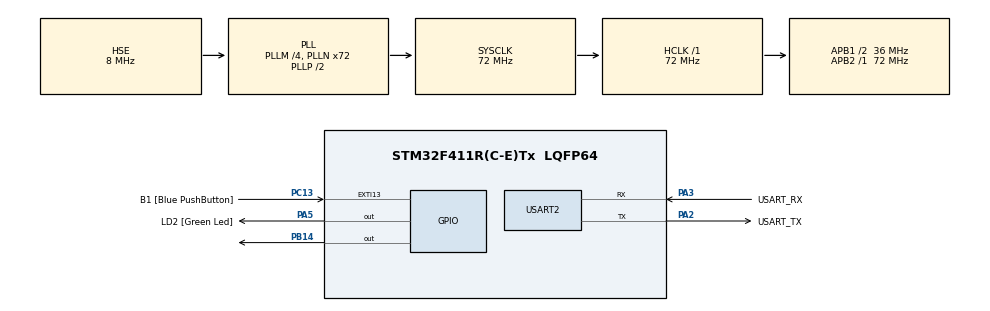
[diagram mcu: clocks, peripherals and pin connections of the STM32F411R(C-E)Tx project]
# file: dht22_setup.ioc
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Mcu.Family=STM32F4
Mcu.Name=STM32F411R(C-E)Tx
Mcu.Package=LQFP64
NVIC.PriorityGroup=NVIC_PRIORITYGROUP_0
PA13.GPIO_Label=TMS
PA13.Mode=Serial_Wire
PA13.Signal=SYS_JTMS-SWDIO
PA14.GPIO_Label=TCK
PA14.Mode=Serial_Wire
PA14.Signal=SYS_JTCK-SWCLK
PA2.GPIO_Label=USART_TX
PA2.Mode=Asynchronous
PA2.Signal=USART2_TX
PA3.GPIO_Label=USART_RX
PA3.Mode=Asynchronous
PA3.Signal=USART2_RX
PA5.GPIO_Label=LD2 [Green Led]
PA5.Signal=GPIO_Output
PB14.Signal=GPIO_Output
PB3.GPIO_Label=SWO
PB3.Signal=SYS_JTDO-SWO
PC13-ANTI_TAMP.GPIO_Label=B1 [Blue PushButton]
PC13-ANTI_TAMP.GPIO_ModeDefaultEXTI=GPIO_MODE_IT_FALLING
PC13-ANTI_TAMP.Signal=GPXTI13
PC14-OSC32_IN.Signal=RCC_OSC32_IN
PC15-OSC32_OUT.Signal=RCC_OSC32_OUT
PH0\ -\ OSC_IN.Mode=HSE-External-Oscillator
PH0\ -\ OSC_IN.Signal=RCC_OSC_IN
PH1\ -\ OSC_OUT.Mode=HSE-External-Oscillator
PH1\ -\ OSC_OUT.Signal=RCC_OSC_OUT
ProjectManager.HeapSize=0x200
ProjectManager.StackSize=0x400
ProjectManager.TargetToolchain=STM32CubeIDE
RCC.48MHZClocksFreq_Value=36000000
RCC.AHBFreq_Value=72000000
RCC.APB1CLKDivider=RCC_HCLK_DIV2
RCC.APB1Freq_Value=36000000
RCC.APB1TimFreq_Value=72000000
RCC.APB2Freq_Value=72000000
RCC.APB2TimFreq_Value=72000000
RCC.CortexFreq_Value=72000000
RCC.FLatency-AdvancedSettings=FLASH_LATENCY_2
RCC.HCLKFreq_Value=72000000
RCC.HSE_VALUE=8000000
RCC.HSI_VALUE=16000000
RCC.PLLM=4
RCC.PLLN=72
RCC.PLLSourceVirtual=RCC_PLLSOURCE_HSE
RCC.SYSCLKFreq_VALUE=72000000
RCC.SYSCLKSource=RCC_SYSCLKSOURCE_PLLCLK
RCC.VCOOutputFreq_Value=144000000
TIM1.AutoReloadPreload=TIM_AUTORELOAD_PRELOAD_ENABLE
TIM1.Prescaler=71
USART2.VirtualMode=VM_ASYNC
VP_TIM1_VS_ClockSourceINT.Mode=Internal
board=NUCLEO-F411RE

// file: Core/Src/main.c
/* USER CODE BEGIN Header */
/**
  ******************************************************************************
  * @file           : main.c
  * @brief          : Main program body
  ******************************************************************************
  * @attention
  *
  * Copyright (c) 2024 STMicroelectronics.
  * All rights reserved.
  *
  * This software is licensed under terms that can be found in the LICENSE file
  * in the root directory of this software component.
  * If no LICENSE file comes with this software, it is provided AS-IS.
  *
  ******************************************************************************
  */
/* USER CODE END Header */
#include "main.h"

/* USER CODE BEGIN Includes */
#include "stdio.h"
#include "dht22.h"
/* USER CODE END Includes */

TIM_HandleTypeDef htim1;

UART_HandleTypeDef huart2;

/* USER CODE BEGIN PV */
DHT22_t DHT_22;
/* USER CODE END PV */

void SystemClock_Config(void);
static void MX_GPIO_Init(void);
static void MX_USART2_UART_Init(void);
static void MX_TIM1_Init(void);

/* USER CODE BEGIN 0 */
#define DHT22_PORT GPIOB
#define DHT22_PIN GPIO_PIN_14

// uint8_t hum1, hum2, tempC1, tempC2, SUM, CHECK;
// uint32_t pMillis, cMillis;
// float temp_Celsius = 0;
// float temp_Fahrenheit = 0;
// float Humidity = 0;
// uint8_t hum_integral, hum_decimal, tempC_integral, tempC_decimal, tempF_integral, tempF_decimal;
char string[15];
uint32_t pMillis, cMillis;
uint32_t *pPMillis = &pMillis;
uint32_t *pCMillis = &cMillis;

// void microDelay (uint16_t delay)
// {
//   __HAL_TIM_SET_COUNTER(&htim1, 0);
//   while (__HAL_TIM_GET_COUNTER(&htim1) < delay);
// }

// uint8_t DHT22_Start (void)
// {
//   uint8_t Response = 0;
//   GPIO_InitTypeDef GPIO_InitStructPrivate = {0};
//   GPIO_InitStructPrivate.Pin = DHT22_PIN;
//   GPIO_InitStructPrivate.Mode = GPIO_MODE_OUTPUT_PP;
//   GPIO_InitStructPrivate.Speed = GPIO_SPEED_FREQ_LOW;
//   GPIO_InitStructPrivate.Pull = GPIO_NOPULL;
//   HAL_GPIO_Init(DHT22_PORT, &GPIO_InitStructPrivate);
//   HAL_GPIO_WritePin (DHT22_PORT, DHT22_PIN, 0);
//   microDelay (1300);
//   HAL_GPIO_WritePin (DHT22_PORT, DHT22_PIN, 1);
//   microDelay (30);
//   GPIO_InitStructPrivate.Mode = GPIO_MODE_INPUT;
//   GPIO_InitStructPrivate.Pull = GPIO_PULLUP;
//   HAL_GPIO_Init(DHT22_PORT, &GPIO_InitStructPrivate);
//   microDelay (40);
//   if (!(HAL_GPIO_ReadPin (DHT22_PORT, DHT22_PIN)))
//   {
//     microDelay (80);
//     if ((HAL_GPIO_ReadPin (DHT22_PORT, DHT22_PIN))) Response = 1;
//   }
//   pMillis = HAL_GetTick();
//   cMillis = HAL_GetTick();
//   while ((HAL_GPIO_ReadPin (DHT22_PORT, DHT22_PIN)) && pMillis + 2 > cMillis)
//   {
//     cMillis = HAL_GetTick();
//   }
//   return Response;
// }

// uint8_t DHT22_Read (void)
// {
//   uint8_t x,y;
//   for (x=0;x<8;x++)
//   {
//     pMillis = HAL_GetTick();
//     cMillis = HAL_GetTick();
//     while (!(HAL_GPIO_ReadPin (DHT22_PORT, DHT22_PIN)) && pMillis + 2 > cMillis)
//     {
//       cMillis = HAL_GetTick();
//     }
//     microDelay (40);
//     if (!(HAL_GPIO_ReadPin (DHT22_PORT, DHT22_PIN)))   // if the pin is low
//       y&= ~(1<<(7-x));
//     else
//       y|= (1<<(7-x));
//     pMillis = HAL_GetTick();
//     cMillis = HAL_GetTick();
//     while ((HAL_GPIO_ReadPin (DHT22_PORT, DHT22_PIN)) && pMillis + 2 > cMillis)
//     {  // wait for the pin to go low
//       cMillis = HAL_GetTick();
//     }
//   }
//   return y;
// }
/* USER CODE END 0 */

int main(void)
{

  /* MCU Configuration--------------------------------------------------------*/

  /* Reset of all peripherals, Initializes the Flash interface and the Systick. */
  HAL_Init();

  /* Configure the system clock */
  SystemClock_Config();

  /* Initialize all configured peripherals */
  MX_GPIO_Init();
  MX_USART2_UART_Init();
  MX_TIM1_Init();
  /* USER CODE BEGIN 2 */
  HAL_TIM_Base_Start(&htim1);

  /* USER CODE END 2 */

  /* Infinite loop */
  /* USER CODE BEGIN WHILE */
  while (1)
  {
	  if(DHT22_Start(DHT22_PORT, DHT22_PIN, &htim1, pPMillis, pCMillis))
      {
        DHT22_Read_All(&DHT_22, &huart2, DHT22_PORT, DHT22_PIN, &htim1, pPMillis, pCMillis);
        sprintf(string,"Temp: %.2f C\r\n", DHT_22.temp_C);
        HAL_UART_Transmit(&huart2, string, 15, 100);
      }
	  	    //  {
	  	    //    hum1 = DHT22_Read();
	  	    //    hum2 = DHT22_Read();
	  	    //    tempC1 = DHT22_Read();
	  	    //    tempC2 = DHT22_Read();
	  	    //    SUM = DHT22_Read();
	  	    //    CHECK = hum1 + hum2 + tempC1 + tempC2;
	  	    //    if (CHECK == SUM)
	  	    //    {
	  	    //      if (tempC1>127)
	  	    //      {
	  	    //        temp_Celsius = (float)tempC2/10*(-1);
	  	    //      }
	  	    //      else
	  	    //      {
	  	    //        temp_Celsius = (float)((tempC1<<8)|tempC2)/10;
	  	    //      }

	  	    //      temp_Fahrenheit = temp_Celsius * 9/5 + 32;

	  	    //      Humidity = (float) ((hum1<<8)|hum2)/10;

	  	    //      hum_integral = Humidity;
	  	    //      hum_decimal = Humidity*10-hum_integral*10;
	  	    //      sprintf(string,"%d.%d %%\r\n", hum_integral, hum_decimal);
	  	    //      HAL_UART_Transmit(&huart2, string, 15, 1000);

	  	    //      if (temp_Celsius < 0)
	  	    //      {
	  	    //        tempC_integral = temp_Celsius *(-1);
	  	    //        tempC_decimal = temp_Celsius*(-10)-tempC_integral*10;
	  	    //        sprintf(string,"-%d.%d C\r\n", tempC_integral, tempC_decimal);
	  	    //      }
	  	    //      else
	  	    //      {
	  	    //        tempC_integral = temp_Celsius;
	  	    //        tempC_decimal = temp_Celsius*10-tempC_integral*10;
	  	    //        sprintf(string,"%d.%d C\r\n", tempC_integral, tempC_decimal);
	  	    //      }
	  	    //      HAL_UART_Transmit(&huart2, string, 15, 1000);

	  	    //      if(temp_Fahrenheit < 0)
	  	    //      {
	  	    //        tempF_integral = temp_Fahrenheit*(-1);
	  	    //        tempF_decimal = temp_Fahrenheit*(-10)-tempF_integral*10;
	  	    //        sprintf(string,"-%d.%d F\r\n", tempF_integral, tempF_decimal);
	  	    //      }
	  	    //      else
	  	    //      {
	  	    //        tempF_integral = temp_Fahrenheit;
	  	    //        tempF_decimal = temp_Fahrenheit*10-tempF_integral*10;
	  	    //        sprintf(string,"%d.%d F\r\n", tempF_integral, tempF_decimal);
	  	    //      }
	  	    //      HAL_UART_Transmit(&huart2, string, 15, 1000);
	  	    //    }
	  	    //  }
	  	     HAL_Delay(1000);
    /* USER CODE END WHILE */

  }
}

void SystemClock_Config(void)
{
  RCC_OscInitTypeDef RCC_OscInitStruct = {0};
  RCC_ClkInitTypeDef RCC_ClkInitStruct = {0};

  /** Configure the main internal regulator output voltage
  */
  __HAL_RCC_PWR_CLK_ENABLE();
  __HAL_PWR_VOLTAGESCALING_CONFIG(PWR_REGULATOR_VOLTAGE_SCALE1);

  /** Initializes the RCC Oscillators according to the specified parameters
  * in the RCC_OscInitTypeDef structure.
  */
  RCC_OscInitStruct.OscillatorType = RCC_OSCILLATORTYPE_HSE;
  RCC_OscInitStruct.HSEState = RCC_HSE_ON;
  RCC_OscInitStruct.PLL.PLLState = RCC_PLL_ON;
  RCC_OscInitStruct.PLL.PLLSource = RCC_PLLSOURCE_HSE;
  RCC_OscInitStruct.PLL.PLLM = 4;
  RCC_OscInitStruct.PLL.PLLN = 72;
  RCC_OscInitStruct.PLL.PLLP = RCC_PLLP_DIV2;
  RCC_OscInitStruct.PLL.PLLQ = 4;
  if (HAL_RCC_OscConfig(&RCC_OscInitStruct) != HAL_OK)
  {
    Error_Handler();
  }

  /** Initializes the CPU, AHB and APB buses clocks
  */
  RCC_ClkInitStruct.ClockType = RCC_CLOCKTYPE_HCLK|RCC_CLOCKTYPE_SYSCLK
                              |RCC_CLOCKTYPE_PCLK1|RCC_CLOCKTYPE_PCLK2;
  RCC_ClkInitStruct.SYSCLKSource = RCC_SYSCLKSOURCE_PLLCLK;
  RCC_ClkInitStruct.AHBCLKDivider = RCC_SYSCLK_DIV1;
  RCC_ClkInitStruct.APB1CLKDivider = RCC_HCLK_DIV2;
  RCC_ClkInitStruct.APB2CLKDivider = RCC_HCLK_DIV1;

  if (HAL_RCC_ClockConfig(&RCC_ClkInitStruct, FLASH_LATENCY_2) != HAL_OK)
  {
    Error_Handler();
  }
}

static void MX_TIM1_Init(void)
{

  TIM_ClockConfigTypeDef sClockSourceConfig = {0};
  TIM_MasterConfigTypeDef sMasterConfig = {0};

  htim1.Instance = TIM1;
  htim1.Init.Prescaler = 71;
  htim1.Init.CounterMode = TIM_COUNTERMODE_UP;
  htim1.Init.Period = 65535;
  htim1.Init.ClockDivision = TIM_CLOCKDIVISION_DIV1;
  htim1.Init.RepetitionCounter = 0;
  htim1.Init.AutoReloadPreload = TIM_AUTORELOAD_PRELOAD_ENABLE;
  if (HAL_TIM_Base_Init(&htim1) != HAL_OK)
  {
    Error_Handler();
  }
  sClockSourceConfig.ClockSource = TIM_CLOCKSOURCE_INTERNAL;
  if (HAL_TIM_ConfigClockSource(&htim1, &sClockSourceConfig) != HAL_OK)
  {
    Error_Handler();
  }
  sMasterConfig.MasterOutputTrigger = TIM_TRGO_RESET;
  sMasterConfig.MasterSlaveMode = TIM_MASTERSLAVEMODE_DISABLE;
  if (HAL_TIMEx_MasterConfigSynchronization(&htim1, &sMasterConfig) != HAL_OK)
  {
    Error_Handler();
  }

}

static void MX_USART2_UART_Init(void)
{

  huart2.Instance = USART2;
  huart2.Init.BaudRate = 115200;
  huart2.Init.WordLength = UART_WORDLENGTH_8B;
  huart2.Init.StopBits = UART_STOPBITS_1;
  huart2.Init.Parity = UART_PARITY_NONE;
  huart2.Init.Mode = UART_MODE_TX_RX;
  huart2.Init.HwFlowCtl = UART_HWCONTROL_NONE;
  huart2.Init.OverSampling = UART_OVERSAMPLING_16;
  if (HAL_UART_Init(&huart2) != HAL_OK)
  {
    Error_Handler();
  }

}

static void MX_GPIO_Init(void)
{
  GPIO_InitTypeDef GPIO_InitStruct = {0};

  /* GPIO Ports Clock Enable */
  __HAL_RCC_GPIOC_CLK_ENABLE();
  __HAL_RCC_GPIOH_CLK_ENABLE();
  __HAL_RCC_GPIOA_CLK_ENABLE();
  __HAL_RCC_GPIOB_CLK_ENABLE();

  /*Configure GPIO pin Output Level */
  HAL_GPIO_WritePin(LD2_GPIO_Port, LD2_Pin, GPIO_PIN_RESET);

  /*Configure GPIO pin Output Level */
  HAL_GPIO_WritePin(GPIOB, GPIO_PIN_14, GPIO_PIN_RESET);

  /*Configure GPIO pin : B1_Pin */
  GPIO_InitStruct.Pin = B1_Pin;
  GPIO_InitStruct.Mode = GPIO_MODE_IT_FALLING;
  GPIO_InitStruct.Pull = GPIO_NOPULL;
  HAL_GPIO_Init(B1_GPIO_Port, &GPIO_InitStruct);

  /*Configure GPIO pin : LD2_Pin */
  GPIO_InitStruct.Pin = LD2_Pin;
  GPIO_InitStruct.Mode = GPIO_MODE_OUTPUT_PP;
  GPIO_InitStruct.Pull = GPIO_NOPULL;
  GPIO_InitStruct.Speed = GPIO_SPEED_FREQ_LOW;
  HAL_GPIO_Init(LD2_GPIO_Port, &GPIO_InitStruct);

  /*Configure GPIO pin : PB14 */
  GPIO_InitStruct.Pin = GPIO_PIN_14;
  GPIO_InitStruct.Mode = GPIO_MODE_OUTPUT_PP;
  GPIO_InitStruct.Pull = GPIO_NOPULL;
  GPIO_InitStruct.Speed = GPIO_SPEED_FREQ_LOW;
  HAL_GPIO_Init(GPIOB, &GPIO_InitStruct);

}

void Error_Handler(void)
{
  __disable_irq();
  while (1)
  {
  }
}
